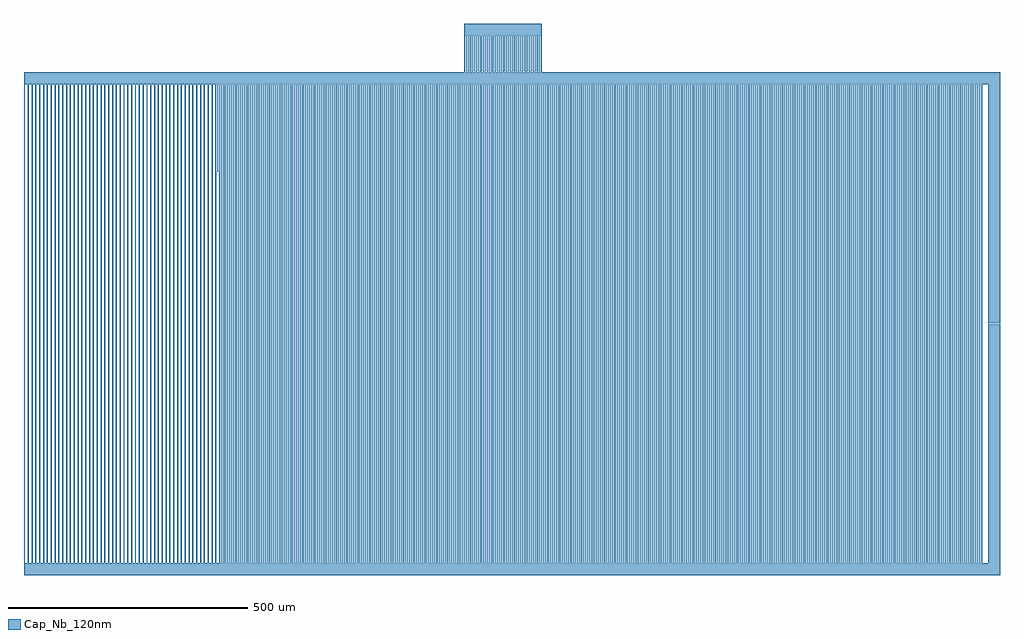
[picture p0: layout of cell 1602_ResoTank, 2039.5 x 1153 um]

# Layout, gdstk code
import gdstk
lib = gdstk.Library(unit=1e-6, precision=1e-09)
def P(c, l, *ps):  # polygons
    for p in ps: c.add(gdstk.Polygon(p, *l))
Cap_Nb_120nm = (6, 0)

c_1602_resotank = lib.new_cell('1602_ResoTank')
P(c_1602_resotank, Cap_Nb_120nm, [(-46,476.75),(-46,551.75),(-50,551.75),(-50,576.75),(112,576.75),(112,551.75),(108,551.75),(108,476.75),(106,476.75),(106,551.75),(100,551.75),(100,476.75),(98,476.75),(98,551.75),(92,551.75),(92,476.75),(90,476.75),(90,551.75),(84,551.75),(84,476.75),(82,476.75),(82,551.75),(76,551.75),(76,476.75),(74,476.75),(74,551.75),(68,551.75),(68,476.75),(66,476.75),(66,551.75),(60,551.75),(60,476.75),(58,476.75),(58,551.75),(52,551.75),(52,476.75),(50,476.75),(50,551.75),(44,551.75),(44,476.75),(42,476.75),(42,551.75),(36,551.75),(36,476.75),(34,476.75),(34,551.75),(28,551.75),(28,476.75),(26,476.75),(26,551.75),(20,551.75),(20,476.75),(18,476.75),(18,551.75),(12,551.75),(12,476.75),(10,476.75),(10,551.75),(4,551.75),(4,476.75),(2,476.75),(2,551.75),(-4,551.75),(-4,476.75),(-6,476.75),(-6,551.75),(-12,551.75),(-12,476.75),(-14,476.75),(-14,551.75),(-20,551.75),(-20,476.75),(-22,476.75),(-22,551.75),(-28,551.75),(-28,476.75),(-30,476.75),(-30,551.75),(-36,551.75),(-36,476.75),(-38,476.75),(-38,551.75),(-44,551.75),(-44,476.75)],
  [(-558,-549.75),(-558,450.25),(-564,450.25),(-564,267.442),(-566,267.442),(-566,450.25),(-970,450.25),(-970,475.25),(-350,475.25),(-350,450.25),(-356,450.25),(-356,-549.75),(-358,-549.75),(-358,450.25),(-364,450.25),(-364,-549.75),(-366,-549.75),(-366,450.25),(-372,450.25),(-372,-549.75),(-374,-549.75),(-374,450.25),(-380,450.25),(-380,-549.75),(-382,-549.75),(-382,450.25),(-388,450.25),(-388,-549.75),(-390,-549.75),(-390,450.25),(-396,450.25),(-396,-549.75),(-398,-549.75),(-398,450.25),(-404,450.25),(-404,-549.75),(-406,-549.75),(-406,450.25),(-412,450.25),(-412,-549.75),(-414,-549.75),(-414,450.25),(-420,450.25),(-420,-549.75),(-422,-549.75),(-422,450.25),(-428,450.25),(-428,-549.75),(-430,-549.75),(-430,450.25),(-436,450.25),(-436,-549.75),(-438,-549.75),(-438,450.25),(-444,450.25),(-444,-549.75),(-446,-549.75),(-446,450.25),(-452,450.25),(-452,-549.75),(-454,-549.75),(-454,450.25),(-460,450.25),(-460,-549.75),(-462,-549.75),(-462,450.25),(-468,450.25),(-468,-549.75),(-470,-549.75),(-470,450.25),(-476,450.25),(-476,-549.75),(-478,-549.75),(-478,450.25),(-484,450.25),(-484,-549.75),(-486,-549.75),(-486,450.25),(-492,450.25),(-492,-549.75),(-494,-549.75),(-494,450.25),(-500,450.25),(-500,-549.75),(-502,-549.75),(-502,450.25),(-508,450.25),(-508,-549.75),(-510,-549.75),(-510,450.25),(-516,450.25),(-516,-549.75),(-518,-549.75),(-518,450.25),(-524,450.25),(-524,-549.75),(-526,-549.75),(-526,450.25),(-532,450.25),(-532,-549.75),(-534,-549.75),(-534,450.25),(-540,450.25),(-540,-549.75),(-542,-549.75),(-542,450.25),(-548,450.25),(-548,-549.75),(-550,-549.75),(-550,450.25),(-556,450.25),(-556,-549.75)],
  [(-350,-549.75),(-350,475.25),(-126,475.25),(-126,450.25),(-132,450.25),(-132,-549.75),(-134,-549.75),(-134,450.25),(-140,450.25),(-140,-549.75),(-142,-549.75),(-142,450.25),(-148,450.25),(-148,-549.75),(-150,-549.75),(-150,450.25),(-156,450.25),(-156,-549.75),(-158,-549.75),(-158,450.25),(-164,450.25),(-164,-549.75),(-166,-549.75),(-166,450.25),(-172,450.25),(-172,-549.75),(-174,-549.75),(-174,450.25),(-180,450.25),(-180,-549.75),(-182,-549.75),(-182,450.25),(-188,450.25),(-188,-549.75),(-190,-549.75),(-190,450.25),(-196,450.25),(-196,-549.75),(-198,-549.75),(-198,450.25),(-204,450.25),(-204,-549.75),(-206,-549.75),(-206,450.25),(-212,450.25),(-212,-549.75),(-214,-549.75),(-214,450.25),(-220,450.25),(-220,-549.75),(-222,-549.75),(-222,450.25),(-228,450.25),(-228,-549.75),(-230,-549.75),(-230,450.25),(-236,450.25),(-236,-549.75),(-238,-549.75),(-238,450.25),(-244,450.25),(-244,-549.75),(-246,-549.75),(-246,450.25),(-252,450.25),(-252,-549.75),(-254,-549.75),(-254,450.25),(-260,450.25),(-260,-549.75),(-262,-549.75),(-262,450.25),(-268,450.25),(-268,-549.75),(-270,-549.75),(-270,450.25),(-276,450.25),(-276,-549.75),(-278,-549.75),(-278,450.25),(-284,450.25),(-284,-549.75),(-286,-549.75),(-286,450.25),(-292,450.25),(-292,-549.75),(-294,-549.75),(-294,450.25),(-300,450.25),(-300,-549.75),(-302,-549.75),(-302,450.25),(-308,450.25),(-308,-549.75),(-310,-549.75),(-310,450.25),(-316,450.25),(-316,-549.75),(-318,-549.75),(-318,450.25),(-324,450.25),(-324,-549.75),(-326,-549.75),(-326,450.25),(-332,450.25),(-332,-549.75),(-334,-549.75),(-334,450.25),(-340,450.25),(-340,-549.75),(-342,-549.75),(-342,450.25),(-348,450.25),(-348,-549.75)],
  [(-126,-549.75),(-126,475.25),(-50,475.25),(-50,550.25),(-48,550.25),(-48,475.25),(-42,475.25),(-42,550.25),(-40,550.25),(-40,475.25),(-34,475.25),(-34,550.25),(-32,550.25),(-32,475.25),(-26,475.25),(-26,550.25),(-24,550.25),(-24,475.25),(-18,475.25),(-18,550.25),(-16,550.25),(-16,475.25),(-10,475.25),(-10,550.25),(-8,550.25),(-8,475.25),(-2,475.25),(-2,550.25),(0,550.25),(0,475.25),(6,475.25),(6,550.25),(8,550.25),(8,475.25),(14,475.25),(14,550.25),(16,550.25),(16,475.25),(20,475.25),(20,-549.75),(18,-549.75),(18,450.25),(12,450.25),(12,-549.75),(10,-549.75),(10,450.25),(4,450.25),(4,-549.75),(2,-549.75),(2,450.25),(-4,450.25),(-4,-549.75),(-6,-549.75),(-6,450.25),(-12,450.25),(-12,-549.75),(-14,-549.75),(-14,450.25),(-20,450.25),(-20,-549.75),(-22,-549.75),(-22,450.25),(-28,450.25),(-28,-549.75),(-30,-549.75),(-30,450.25),(-36,450.25),(-36,-549.75),(-38,-549.75),(-38,450.25),(-44,450.25),(-44,-549.75),(-46,-549.75),(-46,450.25),(-52,450.25),(-52,-549.75),(-54,-549.75),(-54,450.25),(-60,450.25),(-60,-549.75),(-62,-549.75),(-62,450.25),(-68,450.25),(-68,-549.75),(-70,-549.75),(-70,450.25),(-76,450.25),(-76,-549.75),(-78,-549.75),(-78,450.25),(-84,450.25),(-84,-549.75),(-86,-549.75),(-86,450.25),(-92,450.25),(-92,-549.75),(-94,-549.75),(-94,450.25),(-100,450.25),(-100,-549.75),(-102,-549.75),(-102,450.25),(-108,450.25),(-108,-549.75),(-110,-549.75),(-110,450.25),(-116,450.25),(-116,-549.75),(-118,-549.75),(-118,450.25),(-124,450.25),(-124,-549.75)],
  [(26,-549.75),(26,450.25),(20,450.25),(20,475.25),(22,475.25),(22,550.25),(24,550.25),(24,475.25),(30,475.25),(30,550.25),(32,550.25),(32,475.25),(38,475.25),(38,550.25),(40,550.25),(40,475.25),(46,475.25),(46,550.25),(48,550.25),(48,475.25),(54,475.25),(54,550.25),(56,550.25),(56,475.25),(62,475.25),(62,550.25),(64,550.25),(64,475.25),(70,475.25),(70,550.25),(72,550.25),(72,475.25),(78,475.25),(78,550.25),(80,550.25),(80,475.25),(86,475.25),(86,550.25),(88,550.25),(88,475.25),(94,475.25),(94,550.25),(96,550.25),(96,475.25),(102,475.25),(102,550.25),(104,550.25),(104,475.25),(110,475.25),(110,550.25),(112,550.25),(112,475.25),(148,475.25),(148,-549.75),(146,-549.75),(146,450.25),(140,450.25),(140,-549.75),(138,-549.75),(138,450.25),(132,450.25),(132,-549.75),(130,-549.75),(130,450.25),(124,450.25),(124,-549.75),(122,-549.75),(122,450.25),(116,450.25),(116,-549.75),(114,-549.75),(114,450.25),(108,450.25),(108,-549.75),(106,-549.75),(106,450.25),(100,450.25),(100,-549.75),(98,-549.75),(98,450.25),(92,450.25),(92,-549.75),(90,-549.75),(90,450.25),(84,450.25),(84,-549.75),(82,-549.75),(82,450.25),(76,450.25),(76,-549.75),(74,-549.75),(74,450.25),(68,450.25),(68,-549.75),(66,-549.75),(66,450.25),(60,450.25),(60,-549.75),(58,-549.75),(58,450.25),(52,450.25),(52,-549.75),(50,-549.75),(50,450.25),(44,450.25),(44,-549.75),(42,-549.75),(42,450.25),(36,450.25),(36,-549.75),(34,-549.75),(34,450.25),(28,450.25),(28,-549.75)],
  [(154,-549.75),(154,450.25),(148,450.25),(148,475.25),(370,475.25),(370,450.25),(364,450.25),(364,-549.75),(362,-549.75),(362,450.25),(356,450.25),(356,-549.75),(354,-549.75),(354,450.25),(348,450.25),(348,-549.75),(346,-549.75),(346,450.25),(340,450.25),(340,-549.75),(338,-549.75),(338,450.25),(332,450.25),(332,-549.75),(330,-549.75),(330,450.25),(324,450.25),(324,-549.75),(322,-549.75),(322,450.25),(316,450.25),(316,-549.75),(314,-549.75),(314,450.25),(308,450.25),(308,-549.75),(306,-549.75),(306,450.25),(300,450.25),(300,-549.75),(298,-549.75),(298,450.25),(292,450.25),(292,-549.75),(290,-549.75),(290,450.25),(284,450.25),(284,-549.75),(282,-549.75),(282,450.25),(276,450.25),(276,-549.75),(274,-549.75),(274,450.25),(268,450.25),(268,-549.75),(266,-549.75),(266,450.25),(260,450.25),(260,-549.75),(258,-549.75),(258,450.25),(252,450.25),(252,-549.75),(250,-549.75),(250,450.25),(244,450.25),(244,-549.75),(242,-549.75),(242,450.25),(236,450.25),(236,-549.75),(234,-549.75),(234,450.25),(228,450.25),(228,-549.75),(226,-549.75),(226,450.25),(220,450.25),(220,-549.75),(218,-549.75),(218,450.25),(212,450.25),(212,-549.75),(210,-549.75),(210,450.25),(204,450.25),(204,-549.75),(202,-549.75),(202,450.25),(196,450.25),(196,-549.75),(194,-549.75),(194,450.25),(188,450.25),(188,-549.75),(186,-549.75),(186,450.25),(180,450.25),(180,-549.75),(178,-549.75),(178,450.25),(172,450.25),(172,-549.75),(170,-549.75),(170,450.25),(164,450.25),(164,-549.75),(162,-549.75),(162,450.25),(156,450.25),(156,-549.75)],
  [(370,-549.75),(370,475.25),(594,475.25),(594,450.25),(588,450.25),(588,-549.75),(586,-549.75),(586,450.25),(580,450.25),(580,-549.75),(578,-549.75),(578,450.25),(572,450.25),(572,-549.75),(570,-549.75),(570,450.25),(564,450.25),(564,-549.75),(562,-549.75),(562,450.25),(556,450.25),(556,-549.75),(554,-549.75),(554,450.25),(548,450.25),(548,-549.75),(546,-549.75),(546,450.25),(540,450.25),(540,-549.75),(538,-549.75),(538,450.25),(532,450.25),(532,-549.75),(530,-549.75),(530,450.25),(524,450.25),(524,-549.75),(522,-549.75),(522,450.25),(516,450.25),(516,-549.75),(514,-549.75),(514,450.25),(508,450.25),(508,-549.75),(506,-549.75),(506,450.25),(500,450.25),(500,-549.75),(498,-549.75),(498,450.25),(492,450.25),(492,-549.75),(490,-549.75),(490,450.25),(484,450.25),(484,-549.75),(482,-549.75),(482,450.25),(476,450.25),(476,-549.75),(474,-549.75),(474,450.25),(468,450.25),(468,-549.75),(466,-549.75),(466,450.25),(460,450.25),(460,-549.75),(458,-549.75),(458,450.25),(452,450.25),(452,-549.75),(450,-549.75),(450,450.25),(444,450.25),(444,-549.75),(442,-549.75),(442,450.25),(436,450.25),(436,-549.75),(434,-549.75),(434,450.25),(428,450.25),(428,-549.75),(426,-549.75),(426,450.25),(420,450.25),(420,-549.75),(418,-549.75),(418,450.25),(412,450.25),(412,-549.75),(410,-549.75),(410,450.25),(404,450.25),(404,-549.75),(402,-549.75),(402,450.25),(396,450.25),(396,-549.75),(394,-549.75),(394,450.25),(388,450.25),(388,-549.75),(386,-549.75),(386,450.25),(380,450.25),(380,-549.75),(378,-549.75),(378,450.25),(372,450.25),(372,-549.75)],
  [(594,-549.75),(594,475.25),(812,475.25),(812,-549.75),(810,-549.75),(810,450.25),(804,450.25),(804,-549.75),(802,-549.75),(802,450.25),(796,450.25),(796,-549.75),(794,-549.75),(794,450.25),(788,450.25),(788,-549.75),(786,-549.75),(786,450.25),(780,450.25),(780,-549.75),(778,-549.75),(778,450.25),(772,450.25),(772,-549.75),(770,-549.75),(770,450.25),(764,450.25),(764,-549.75),(762,-549.75),(762,450.25),(756,450.25),(756,-549.75),(754,-549.75),(754,450.25),(748,450.25),(748,-549.75),(746,-549.75),(746,450.25),(740,450.25),(740,-549.75),(738,-549.75),(738,450.25),(732,450.25),(732,-549.75),(730,-549.75),(730,450.25),(724,450.25),(724,-549.75),(722,-549.75),(722,450.25),(716,450.25),(716,-549.75),(714,-549.75),(714,450.25),(708,450.25),(708,-549.75),(706,-549.75),(706,450.25),(700,450.25),(700,-549.75),(698,-549.75),(698,450.25),(692,450.25),(692,-549.75),(690,-549.75),(690,450.25),(684,450.25),(684,-549.75),(682,-549.75),(682,450.25),(676,450.25),(676,-549.75),(674,-549.75),(674,450.25),(668,450.25),(668,-549.75),(666,-549.75),(666,450.25),(660,450.25),(660,-549.75),(658,-549.75),(658,450.25),(652,450.25),(652,-549.75),(650,-549.75),(650,450.25),(644,450.25),(644,-549.75),(642,-549.75),(642,450.25),(636,450.25),(636,-549.75),(634,-549.75),(634,450.25),(628,450.25),(628,-549.75),(626,-549.75),(626,450.25),(620,450.25),(620,-549.75),(618,-549.75),(618,450.25),(612,450.25),(612,-549.75),(610,-549.75),(610,450.25),(604,450.25),(604,-549.75),(602,-549.75),(602,450.25),(596,450.25),(596,-549.75)],
  [(818,-549.75),(818,450.25),(812,450.25),(812,475.25),(1069.5,475.25),(1069.5,-49.5),(1044.5,-49.5),(1044.5,450.25),(1028,450.25),(1028,-549.75),(1026,-549.75),(1026,450.25),(1020,450.25),(1020,-549.75),(1018,-549.75),(1018,450.25),(1012,450.25),(1012,-549.75),(1010,-549.75),(1010,450.25),(1004,450.25),(1004,-549.75),(1002,-549.75),(1002,450.25),(996,450.25),(996,-549.75),(994,-549.75),(994,450.25),(988,450.25),(988,-549.75),(986,-549.75),(986,450.25),(980,450.25),(980,-549.75),(978,-549.75),(978,450.25),(972,450.25),(972,-549.75),(970,-549.75),(970,450.25),(964,450.25),(964,-549.75),(962,-549.75),(962,450.25),(956,450.25),(956,-549.75),(954,-549.75),(954,450.25),(948,450.25),(948,-549.75),(946,-549.75),(946,450.25),(940,450.25),(940,-549.75),(938,-549.75),(938,450.25),(932,450.25),(932,-549.75),(930,-549.75),(930,450.25),(924,450.25),(924,-549.75),(922,-549.75),(922,450.25),(916,450.25),(916,-549.75),(914,-549.75),(914,450.25),(908,450.25),(908,-549.75),(906,-549.75),(906,450.25),(900,450.25),(900,-549.75),(898,-549.75),(898,450.25),(892,450.25),(892,-549.75),(890,-549.75),(890,450.25),(884,450.25),(884,-549.75),(882,-549.75),(882,450.25),(876,450.25),(876,-549.75),(874,-549.75),(874,450.25),(868,450.25),(868,-549.75),(866,-549.75),(866,450.25),(860,450.25),(860,-549.75),(858,-549.75),(858,450.25),(852,450.25),(852,-549.75),(850,-549.75),(850,450.25),(844,450.25),(844,-549.75),(842,-549.75),(842,450.25),(836,450.25),(836,-549.75),(834,-549.75),(834,450.25),(828,450.25),(828,-549.75),(826,-549.75),(826,450.25),(820,450.25),(820,-549.75)],
  [(-970,-576.25),(-970,448.75),(-968,448.75),(-968,-551.25),(-962,-551.25),(-962,448.75),(-960,448.75),(-960,-551.25),(-954,-551.25),(-954,448.75),(-952,448.75),(-952,-551.25),(-946,-551.25),(-946,448.75),(-944,448.75),(-944,-551.25),(-938,-551.25),(-938,448.75),(-936,448.75),(-936,-551.25),(-930,-551.25),(-930,448.75),(-928,448.75),(-928,-551.25),(-922,-551.25),(-922,448.75),(-920,448.75),(-920,-551.25),(-914,-551.25),(-914,448.75),(-912,448.75),(-912,-551.25),(-906,-551.25),(-906,448.75),(-904,448.75),(-904,-551.25),(-898,-551.25),(-898,448.75),(-896,448.75),(-896,-551.25),(-890,-551.25),(-890,448.75),(-888,448.75),(-888,-551.25),(-882,-551.25),(-882,448.75),(-880,448.75),(-880,-551.25),(-874,-551.25),(-874,448.75),(-872,448.75),(-872,-551.25),(-866,-551.25),(-866,448.75),(-864,448.75),(-864,-551.25),(-858,-551.25),(-858,448.75),(-856,448.75),(-856,-551.25),(-850,-551.25),(-850,448.75),(-848,448.75),(-848,-551.25),(-842,-551.25),(-842,448.75),(-840,448.75),(-840,-551.25),(-834,-551.25),(-834,448.75),(-832,448.75),(-832,-551.25),(-826,-551.25),(-826,448.75),(-824,448.75),(-824,-551.25),(-818,-551.25),(-818,448.75),(-816,448.75),(-816,-551.25),(-810,-551.25),(-810,448.75),(-808,448.75),(-808,-551.25),(-802,-551.25),(-802,448.75),(-800,448.75),(-800,-551.25),(-794,-551.25),(-794,448.75),(-792,448.75),(-792,-551.25),(-786,-551.25),(-786,448.75),(-784,448.75),(-784,-551.25),(-778,-551.25),(-778,448.75),(-776,448.75),(-776,-551.25),(-770,-551.25),(-770,448.75),(-768,448.75),(-768,-551.25),(-762,-551.25),(-762,448.75),(-760,448.75),(-760,-551.25),(-754,-551.25),(-754,448.75),(-752,448.75),(-752,-551.25),(-746,-551.25),(-746,448.75),(-744,448.75),(-744,-551.25),(-738,-551.25),(-738,448.75),(-736,448.75),(-736,-551.25),(-730,-551.25),(-730,448.75),(-728,448.75),(-728,-551.25),(-722,-551.25),(-722,-576.25)],
  [(-722,-576.25),(-722,448.75),(-720,448.75),(-720,-551.25),(-714,-551.25),(-714,448.75),(-712,448.75),(-712,-551.25),(-706,-551.25),(-706,448.75),(-704,448.75),(-704,-551.25),(-698,-551.25),(-698,448.75),(-696,448.75),(-696,-551.25),(-690,-551.25),(-690,448.75),(-688,448.75),(-688,-551.25),(-682,-551.25),(-682,448.75),(-680,448.75),(-680,-551.25),(-674,-551.25),(-674,448.75),(-672,448.75),(-672,-551.25),(-666,-551.25),(-666,448.75),(-664,448.75),(-664,-551.25),(-658,-551.25),(-658,448.75),(-656,448.75),(-656,-551.25),(-650,-551.25),(-650,448.75),(-648,448.75),(-648,-551.25),(-642,-551.25),(-642,448.75),(-640,448.75),(-640,-551.25),(-634,-551.25),(-634,448.75),(-632,448.75),(-632,-551.25),(-626,-551.25),(-626,448.75),(-624,448.75),(-624,-551.25),(-618,-551.25),(-618,448.75),(-616,448.75),(-616,-551.25),(-610,-551.25),(-610,448.75),(-608,448.75),(-608,-551.25),(-602,-551.25),(-602,448.75),(-600,448.75),(-600,-551.25),(-594,-551.25),(-594,448.75),(-592,448.75),(-592,-551.25),(-586,-551.25),(-586,448.75),(-584,448.75),(-584,-551.25),(-578,-551.25),(-578,448.75),(-576,448.75),(-576,-551.25),(-570,-551.25),(-570,448.75),(-568,448.75),(-568,-551.25),(-562,-551.25),(-562,448.75),(-560,448.75),(-560,-551.25),(-554,-551.25),(-554,448.75),(-552,448.75),(-552,-551.25),(-546,-551.25),(-546,448.75),(-544,448.75),(-544,-551.25),(-538,-551.25),(-538,448.75),(-536,448.75),(-536,-551.25),(-530,-551.25),(-530,448.75),(-528,448.75),(-528,-551.25),(-522,-551.25),(-522,448.75),(-520,448.75),(-520,-551.25),(-514,-551.25),(-514,448.75),(-512,448.75),(-512,-551.25),(-506,-551.25),(-506,448.75),(-504,448.75),(-504,-551.25),(-498,-551.25),(-498,448.75),(-496,448.75),(-496,-551.25),(-490,-551.25),(-490,448.75),(-488,448.75),(-488,-551.25),(-482,-551.25),(-482,448.75),(-480,448.75),(-480,-551.25),(-474,-551.25),(-474,448.75),(-472,448.75),(-472,-576.25)],
  [(-472,-576.25),(-472,-551.25),(-466,-551.25),(-466,448.75),(-464,448.75),(-464,-551.25),(-458,-551.25),(-458,448.75),(-456,448.75),(-456,-551.25),(-450,-551.25),(-450,448.75),(-448,448.75),(-448,-551.25),(-442,-551.25),(-442,448.75),(-440,448.75),(-440,-551.25),(-434,-551.25),(-434,448.75),(-432,448.75),(-432,-551.25),(-426,-551.25),(-426,448.75),(-424,448.75),(-424,-551.25),(-418,-551.25),(-418,448.75),(-416,448.75),(-416,-551.25),(-410,-551.25),(-410,448.75),(-408,448.75),(-408,-551.25),(-402,-551.25),(-402,448.75),(-400,448.75),(-400,-551.25),(-394,-551.25),(-394,448.75),(-392,448.75),(-392,-551.25),(-386,-551.25),(-386,448.75),(-384,448.75),(-384,-551.25),(-378,-551.25),(-378,448.75),(-376,448.75),(-376,-551.25),(-370,-551.25),(-370,448.75),(-368,448.75),(-368,-551.25),(-362,-551.25),(-362,448.75),(-360,448.75),(-360,-551.25),(-354,-551.25),(-354,448.75),(-352,448.75),(-352,-551.25),(-346,-551.25),(-346,448.75),(-344,448.75),(-344,-551.25),(-338,-551.25),(-338,448.75),(-336,448.75),(-336,-551.25),(-330,-551.25),(-330,448.75),(-328,448.75),(-328,-551.25),(-322,-551.25),(-322,448.75),(-320,448.75),(-320,-551.25),(-314,-551.25),(-314,448.75),(-312,448.75),(-312,-551.25),(-306,-551.25),(-306,448.75),(-304,448.75),(-304,-551.25),(-298,-551.25),(-298,448.75),(-296,448.75),(-296,-551.25),(-290,-551.25),(-290,448.75),(-288,448.75),(-288,-551.25),(-282,-551.25),(-282,448.75),(-280,448.75),(-280,-551.25),(-274,-551.25),(-274,448.75),(-272,448.75),(-272,-551.25),(-266,-551.25),(-266,448.75),(-264,448.75),(-264,-551.25),(-258,-551.25),(-258,448.75),(-256,448.75),(-256,-551.25),(-250,-551.25),(-250,448.75),(-248,448.75),(-248,-551.25),(-242,-551.25),(-242,448.75),(-240,448.75),(-240,-551.25),(-234,-551.25),(-234,448.75),(-232,448.75),(-232,-551.25),(-226,-551.25),(-226,448.75),(-224,448.75),(-224,-551.25),(-218,-551.25),(-218,-576.25)],
  [(-218,-576.25),(-218,448.75),(-216,448.75),(-216,-551.25),(-210,-551.25),(-210,448.75),(-208,448.75),(-208,-551.25),(-202,-551.25),(-202,448.75),(-200,448.75),(-200,-551.25),(-194,-551.25),(-194,448.75),(-192,448.75),(-192,-551.25),(-186,-551.25),(-186,448.75),(-184,448.75),(-184,-551.25),(-178,-551.25),(-178,448.75),(-176,448.75),(-176,-551.25),(-170,-551.25),(-170,448.75),(-168,448.75),(-168,-551.25),(-162,-551.25),(-162,448.75),(-160,448.75),(-160,-551.25),(-154,-551.25),(-154,448.75),(-152,448.75),(-152,-551.25),(-146,-551.25),(-146,448.75),(-144,448.75),(-144,-551.25),(-138,-551.25),(-138,448.75),(-136,448.75),(-136,-551.25),(-130,-551.25),(-130,448.75),(-128,448.75),(-128,-551.25),(-122,-551.25),(-122,448.75),(-120,448.75),(-120,-551.25),(-114,-551.25),(-114,448.75),(-112,448.75),(-112,-551.25),(-106,-551.25),(-106,448.75),(-104,448.75),(-104,-551.25),(-98,-551.25),(-98,448.75),(-96,448.75),(-96,-551.25),(-90,-551.25),(-90,448.75),(-88,448.75),(-88,-551.25),(-82,-551.25),(-82,448.75),(-80,448.75),(-80,-551.25),(-74,-551.25),(-74,448.75),(-72,448.75),(-72,-551.25),(-66,-551.25),(-66,448.75),(-64,448.75),(-64,-551.25),(-58,-551.25),(-58,448.75),(-56,448.75),(-56,-551.25),(-50,-551.25),(-50,448.75),(-48,448.75),(-48,-551.25),(-42,-551.25),(-42,448.75),(-40,448.75),(-40,-551.25),(-34,-551.25),(-34,448.75),(-32,448.75),(-32,-551.25),(-26,-551.25),(-26,448.75),(-24,448.75),(-24,-551.25),(-18,-551.25),(-18,448.75),(-16,448.75),(-16,-551.25),(-10,-551.25),(-10,448.75),(-8,448.75),(-8,-551.25),(-2,-551.25),(-2,448.75),(0,448.75),(0,-551.25),(6,-551.25),(6,448.75),(8,448.75),(8,-551.25),(14,-551.25),(14,448.75),(16,448.75),(16,-551.25),(22,-551.25),(22,448.75),(24,448.75),(24,-551.25),(30,-551.25),(30,448.75),(32,448.75),(32,-576.25)],
  [(32,-576.25),(32,-551.25),(38,-551.25),(38,448.75),(40,448.75),(40,-551.25),(46,-551.25),(46,448.75),(48,448.75),(48,-551.25),(54,-551.25),(54,448.75),(56,448.75),(56,-551.25),(62,-551.25),(62,448.75),(64,448.75),(64,-551.25),(70,-551.25),(70,448.75),(72,448.75),(72,-551.25),(78,-551.25),(78,448.75),(80,448.75),(80,-551.25),(86,-551.25),(86,448.75),(88,448.75),(88,-551.25),(94,-551.25),(94,448.75),(96,448.75),(96,-551.25),(102,-551.25),(102,448.75),(104,448.75),(104,-551.25),(110,-551.25),(110,448.75),(112,448.75),(112,-551.25),(118,-551.25),(118,448.75),(120,448.75),(120,-551.25),(126,-551.25),(126,448.75),(128,448.75),(128,-551.25),(134,-551.25),(134,448.75),(136,448.75),(136,-551.25),(142,-551.25),(142,448.75),(144,448.75),(144,-551.25),(150,-551.25),(150,448.75),(152,448.75),(152,-551.25),(158,-551.25),(158,448.75),(160,448.75),(160,-551.25),(166,-551.25),(166,448.75),(168,448.75),(168,-551.25),(174,-551.25),(174,448.75),(176,448.75),(176,-551.25),(182,-551.25),(182,448.75),(184,448.75),(184,-551.25),(190,-551.25),(190,448.75),(192,448.75),(192,-551.25),(198,-551.25),(198,448.75),(200,448.75),(200,-551.25),(206,-551.25),(206,448.75),(208,448.75),(208,-551.25),(214,-551.25),(214,448.75),(216,448.75),(216,-551.25),(222,-551.25),(222,448.75),(224,448.75),(224,-551.25),(230,-551.25),(230,448.75),(232,448.75),(232,-551.25),(238,-551.25),(238,448.75),(240,448.75),(240,-551.25),(246,-551.25),(246,448.75),(248,448.75),(248,-551.25),(254,-551.25),(254,448.75),(256,448.75),(256,-551.25),(262,-551.25),(262,448.75),(264,448.75),(264,-551.25),(270,-551.25),(270,448.75),(272,448.75),(272,-551.25),(278,-551.25),(278,448.75),(280,448.75),(280,-551.25),(286,-551.25),(286,-576.25)],
  [(286,-576.25),(286,448.75),(288,448.75),(288,-551.25),(294,-551.25),(294,448.75),(296,448.75),(296,-551.25),(302,-551.25),(302,448.75),(304,448.75),(304,-551.25),(310,-551.25),(310,448.75),(312,448.75),(312,-551.25),(318,-551.25),(318,448.75),(320,448.75),(320,-551.25),(326,-551.25),(326,448.75),(328,448.75),(328,-551.25),(334,-551.25),(334,448.75),(336,448.75),(336,-551.25),(342,-551.25),(342,448.75),(344,448.75),(344,-551.25),(350,-551.25),(350,448.75),(352,448.75),(352,-551.25),(358,-551.25),(358,448.75),(360,448.75),(360,-551.25),(366,-551.25),(366,448.75),(368,448.75),(368,-551.25),(374,-551.25),(374,448.75),(376,448.75),(376,-551.25),(382,-551.25),(382,448.75),(384,448.75),(384,-551.25),(390,-551.25),(390,448.75),(392,448.75),(392,-551.25),(398,-551.25),(398,448.75),(400,448.75),(400,-551.25),(406,-551.25),(406,448.75),(408,448.75),(408,-551.25),(414,-551.25),(414,448.75),(416,448.75),(416,-551.25),(422,-551.25),(422,448.75),(424,448.75),(424,-551.25),(430,-551.25),(430,448.75),(432,448.75),(432,-551.25),(438,-551.25),(438,448.75),(440,448.75),(440,-551.25),(446,-551.25),(446,448.75),(448,448.75),(448,-551.25),(454,-551.25),(454,448.75),(456,448.75),(456,-551.25),(462,-551.25),(462,448.75),(464,448.75),(464,-551.25),(470,-551.25),(470,448.75),(472,448.75),(472,-551.25),(478,-551.25),(478,448.75),(480,448.75),(480,-551.25),(486,-551.25),(486,448.75),(488,448.75),(488,-551.25),(494,-551.25),(494,448.75),(496,448.75),(496,-551.25),(502,-551.25),(502,448.75),(504,448.75),(504,-551.25),(510,-551.25),(510,448.75),(512,448.75),(512,-551.25),(518,-551.25),(518,448.75),(520,448.75),(520,-551.25),(526,-551.25),(526,448.75),(528,448.75),(528,-551.25),(534,-551.25),(534,448.75),(536,448.75),(536,-576.25)],
  [(536,-576.25),(536,-551.25),(542,-551.25),(542,448.75),(544,448.75),(544,-551.25),(550,-551.25),(550,448.75),(552,448.75),(552,-551.25),(558,-551.25),(558,448.75),(560,448.75),(560,-551.25),(566,-551.25),(566,448.75),(568,448.75),(568,-551.25),(574,-551.25),(574,448.75),(576,448.75),(576,-551.25),(582,-551.25),(582,448.75),(584,448.75),(584,-551.25),(590,-551.25),(590,448.75),(592,448.75),(592,-551.25),(598,-551.25),(598,448.75),(600,448.75),(600,-551.25),(606,-551.25),(606,448.75),(608,448.75),(608,-551.25),(614,-551.25),(614,448.75),(616,448.75),(616,-551.25),(622,-551.25),(622,448.75),(624,448.75),(624,-551.25),(630,-551.25),(630,448.75),(632,448.75),(632,-551.25),(638,-551.25),(638,448.75),(640,448.75),(640,-551.25),(646,-551.25),(646,448.75),(648,448.75),(648,-551.25),(654,-551.25),(654,448.75),(656,448.75),(656,-551.25),(662,-551.25),(662,448.75),(664,448.75),(664,-551.25),(670,-551.25),(670,448.75),(672,448.75),(672,-551.25),(678,-551.25),(678,448.75),(680,448.75),(680,-551.25),(686,-551.25),(686,448.75),(688,448.75),(688,-551.25),(694,-551.25),(694,448.75),(696,448.75),(696,-551.25),(702,-551.25),(702,448.75),(704,448.75),(704,-551.25),(710,-551.25),(710,448.75),(712,448.75),(712,-551.25),(718,-551.25),(718,448.75),(720,448.75),(720,-551.25),(726,-551.25),(726,448.75),(728,448.75),(728,-551.25),(734,-551.25),(734,448.75),(736,448.75),(736,-551.25),(742,-551.25),(742,448.75),(744,448.75),(744,-551.25),(750,-551.25),(750,448.75),(752,448.75),(752,-551.25),(758,-551.25),(758,448.75),(760,448.75),(760,-551.25),(766,-551.25),(766,448.75),(768,448.75),(768,-551.25),(774,-551.25),(774,448.75),(776,448.75),(776,-551.25),(782,-551.25),(782,448.75),(784,448.75),(784,-551.25),(790,-551.25),(790,-576.25)],
  [(790,-576.25),(790,448.75),(792,448.75),(792,-551.25),(798,-551.25),(798,448.75),(800,448.75),(800,-551.25),(806,-551.25),(806,448.75),(808,448.75),(808,-551.25),(814,-551.25),(814,448.75),(816,448.75),(816,-551.25),(822,-551.25),(822,448.75),(824,448.75),(824,-551.25),(830,-551.25),(830,448.75),(832,448.75),(832,-551.25),(838,-551.25),(838,448.75),(840,448.75),(840,-551.25),(846,-551.25),(846,448.75),(848,448.75),(848,-551.25),(854,-551.25),(854,448.75),(856,448.75),(856,-551.25),(862,-551.25),(862,448.75),(864,448.75),(864,-551.25),(870,-551.25),(870,448.75),(872,448.75),(872,-551.25),(878,-551.25),(878,448.75),(880,448.75),(880,-551.25),(886,-551.25),(886,448.75),(888,448.75),(888,-551.25),(894,-551.25),(894,448.75),(896,448.75),(896,-551.25),(902,-551.25),(902,448.75),(904,448.75),(904,-551.25),(910,-551.25),(910,448.75),(912,448.75),(912,-551.25),(918,-551.25),(918,448.75),(920,448.75),(920,-551.25),(926,-551.25),(926,448.75),(928,448.75),(928,-551.25),(934,-551.25),(934,448.75),(936,448.75),(936,-551.25),(942,-551.25),(942,448.75),(944,448.75),(944,-551.25),(950,-551.25),(950,448.75),(952,448.75),(952,-551.25),(958,-551.25),(958,448.75),(960,448.75),(960,-551.25),(966,-551.25),(966,448.75),(968,448.75),(968,-551.25),(974,-551.25),(974,448.75),(976,448.75),(976,-551.25),(982,-551.25),(982,448.75),(984,448.75),(984,-551.25),(990,-551.25),(990,448.75),(992,448.75),(992,-551.25),(998,-551.25),(998,448.75),(1000,448.75),(1000,-551.25),(1006,-551.25),(1006,448.75),(1008,448.75),(1008,-551.25),(1014,-551.25),(1014,448.75),(1016,448.75),(1016,-551.25),(1022,-551.25),(1022,448.75),(1024,448.75),(1024,-551.25),(1030,-551.25),(1030,448.75),(1032,448.75),(1032,-551.25),(1044.5,-551.25),(1044.5,-51.5),(1069.5,-51.5),(1069.5,-576.25)])

lib.write_gds('1602_ResoTank.gds')
